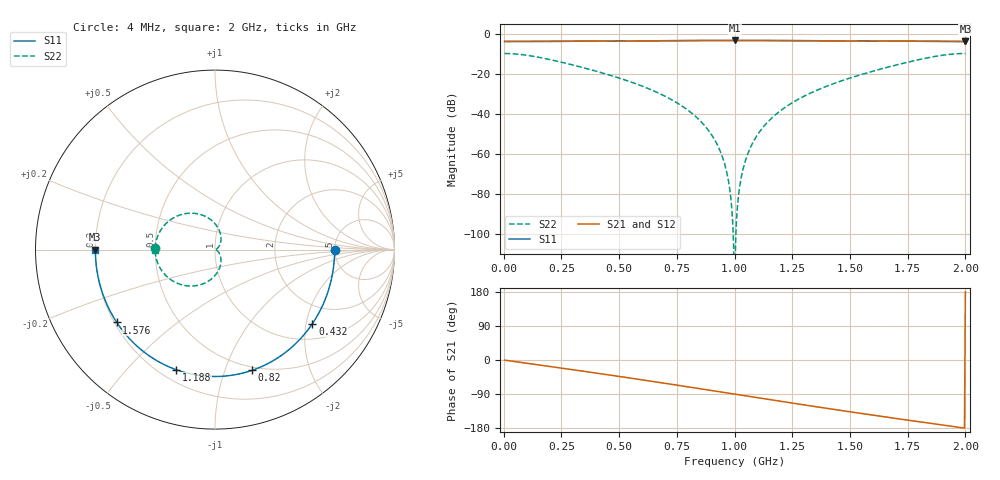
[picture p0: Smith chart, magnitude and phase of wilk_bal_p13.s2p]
!Created with skrf (http://scikit-rf.org).
# GHz S RI R 50.0
!freq ReS11 ImS11 ReS21 ImS21 ReS12 ImS12 ReS22 ImS22
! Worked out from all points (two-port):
!   500 points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, 4 MHz to 2 GHz, reference 50 ohm
!   highest |S21| = -3.01 dB at 1 GHz (marker M1); lowest = -3.5 dB at 2 GHz (marker M2)
!   |S21| within 3 dB of the highest: start of sweep to end of sweep
!   lowest |S11| = -3.5 dB at 2 GHz (marker M3), VSWR 5.00, Z = 10 + j7.28e-15 ohm
!   |S11| at or under -10 dB: nowhere
!   |S22| runs from - to -9.5 dB; largest |S21 - S12| = 5.6e-16
!   S11 on the Smith chart (normalised r, x): 4 MHz: 5.00, -0.07; 432 MHz: 1.41, -2.18; 820 MHz: 0.47, -1.24; 1.188 GHz: 0.26, -0.69; 1.576 GHz: 0.21, -0.32; 2 GHz: 0.20, +0.00
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0.004  0.6667 -0.00395  0.6667 -0.00395  0.6667 -0.00395  -0.3332 0.0079
0.148  0.6526 -0.1457  0.6526 -0.1457  0.6526 -0.1457  -0.1864 0.1957
0.34  0.5908 -0.3294  0.5908 -0.3294  0.5908 -0.3294  -0.00451 0.1493
0.432  0.5427 -0.4126  0.5427 -0.4126  0.5427 -0.4126  0.025 0.1036
0.672  0.3587 -0.5972  0.3587 -0.5972  0.3587 -0.5972  0.0249 0.0227
0.82  0.2072 -0.6725  0.2072 -0.6725  0.2072 -0.6725  0.00923 0.00392
0.876  0.1445 -0.6905  0.1445 -0.6905  0.1445 -0.6905  0.00457 0.00129
0.92  0.0938 -0.7002  0.0938 -0.7002  0.0938 -0.7002  0.00194 0.000349
0.952  0.0565 -0.7046  0.0565 -0.7046  0.0565 -0.7046  0.000707 7.57e-05
0.984  0.0188 -0.7068  0.0188 -0.7068  0.0188 -0.7068  7.89e-05 2.81e-06
1  -1.21e-16 -0.7071  -1.21e-16 -0.7071  -1.21e-16 -0.7071  -3.64e-17 -2.55e-32
1.004  -0.00471 -0.7071  -0.00471 -0.7071  -0.00471 -0.7071  4.93e-06 -4.38e-08
1.016  -0.0188 -0.7068  -0.0188 -0.7068  -0.0188 -0.7068  7.89e-05 -2.81e-06
1.048  -0.0565 -0.7046  -0.0565 -0.7046  -0.0565 -0.7046  0.000707 -7.57e-05
1.08  -0.0938 -0.7002  -0.0938 -0.7002  -0.0938 -0.7002  0.00194 -0.000349
1.128  -0.149 -0.6894  -0.149 -0.6894  -0.149 -0.6894  0.00486 -0.00142
1.188  -0.216 -0.6694  -0.216 -0.6694  -0.216 -0.6694  0.01 -0.00446
1.336  -0.3661 -0.5921  -0.3661 -0.5921  -0.3661 -0.5921  0.0257 -0.0243
1.576  -0.5474 -0.4056  -0.5474 -0.4056  -0.5474 -0.4056  0.0234 -0.1074
1.668  -0.5944 -0.322  -0.5944 -0.322  -0.5944 -0.322  -0.00847 -0.1534
1.856  -0.6533 -0.1418  -0.6533 -0.1418  -0.6533 -0.1418  -0.192 -0.1941
2  -0.6667 2.02e-16  -0.6667 2.02e-16  -0.6667 2.02e-16  -0.3333 4.04e-16
